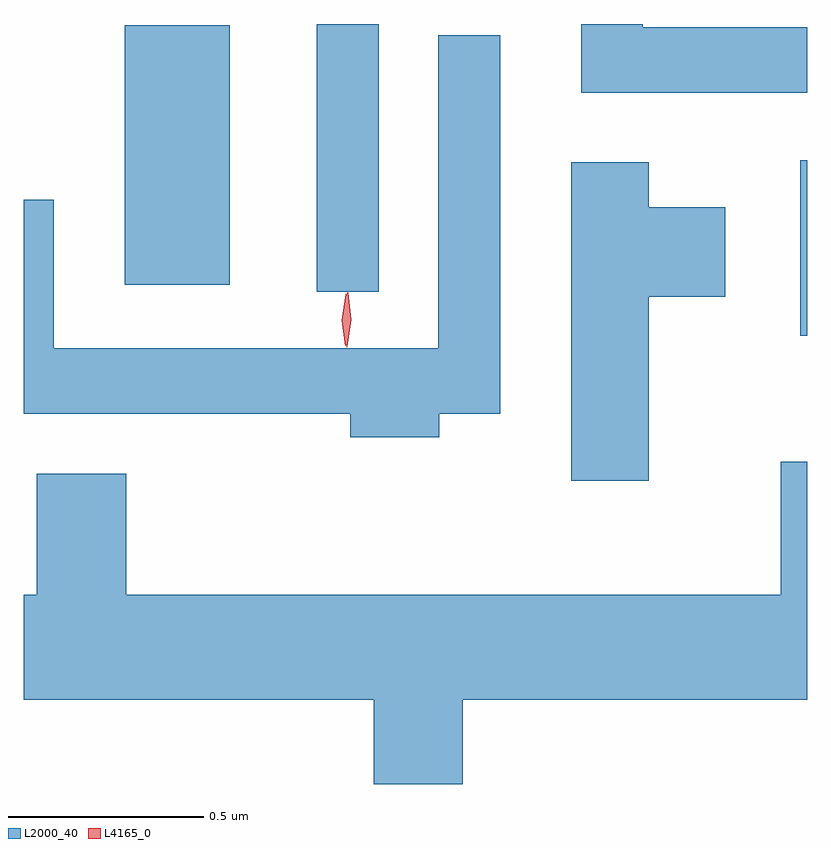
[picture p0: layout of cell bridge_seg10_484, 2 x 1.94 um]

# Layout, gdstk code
import gdstk
lib = gdstk.Library(unit=1e-6, precision=1e-09)
def R(c, l, rs):  # rectangles x0, y0, x1, y1
    for r in rs: c.add(gdstk.rectangle(r[:2], r[2:], *l))
def P(c, l, *ps):  # polygons
    for p in ps: c.add(gdstk.Polygon(p, *l))
L2000_40 = (2000, 40)
L4165_0 = (4165, 0)

bridge_seg10_484 = lib.new_cell('bridge_seg10_484')
R(bridge_seg10_484, L2000_40, [(1445.761,2139.266,1445.778,2139.714), (1444.526,2139.378,1444.684,2140.062), (1444.036,2139.396,1444.304,2140.059)])
P(bridge_seg10_484, L2000_40, [(1445.778,2140.054),(1445.359,2140.054),(1445.359,2140.062),(1445.201,2140.062),(1445.201,2139.886),(1445.778,2139.886)],
  [(1444.839,2139.066),(1444.994,2139.066),(1444.994,2140.033),(1444.836,2140.033),(1444.836,2139.234),(1443.854,2139.234),(1443.854,2139.613),(1443.778,2139.613),(1443.778,2139.066),(1444.611,2139.066),(1444.611,2139.006),(1444.839,2139.006)],
  [(1445.374,2139.366),(1445.569,2139.366),(1445.569,2139.594),(1445.374,2139.594),(1445.374,2139.709),(1445.176,2139.709),(1445.176,2138.896),(1445.374,2138.896)],
  [(1444.899,2138.336),(1445.778,2138.336),(1445.778,2138.944),(1445.711,2138.944),(1445.711,2138.604),(1444.039,2138.604),(1444.039,2138.914),(1443.811,2138.914),(1443.811,2138.604),(1443.778,2138.604),(1443.778,2138.336),(1444.671,2138.336),(1444.671,2138.121),(1444.899,2138.121)])
P(bridge_seg10_484, L4165_0, [(1444.599,2139.24),(1444.599,2139.24),(1444.59,2139.306),(1444.6,2139.372),(1444.6,2139.373),(1444.601,2139.372),(1444.61,2139.306),(1444.6,2139.24)],
  [(1444.603,2139.237),(1444.603,2139.238),(1444.594,2139.307),(1444.604,2139.376),(1444.605,2139.376),(1444.606,2139.376),(1444.614,2139.307),(1444.604,2139.238)])

lib.write_gds('bridge_seg10_484.gds')
